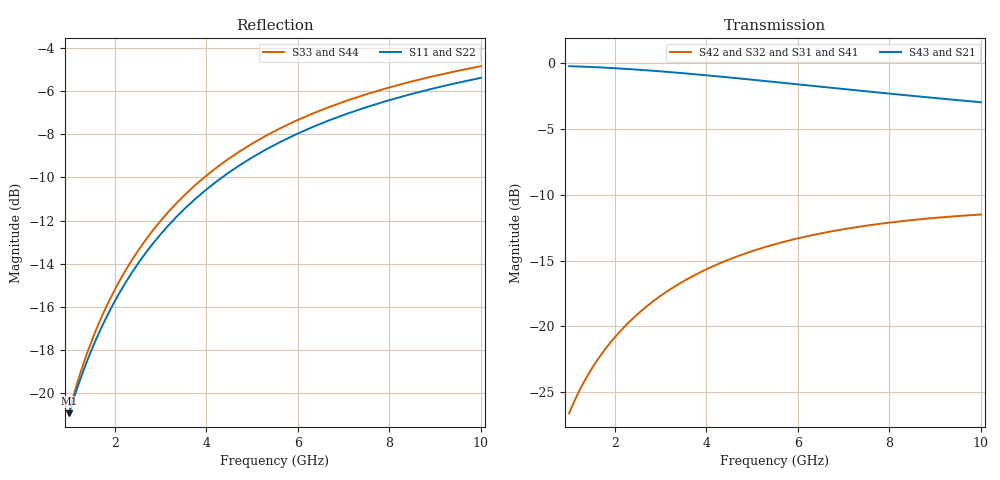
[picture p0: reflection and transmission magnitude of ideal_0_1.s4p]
! Synthetic ideal circuit; generated by generate_synthetic.py
# Hz S RI R 50
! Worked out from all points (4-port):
!   41 points, 1 GHz to 10 GHz, reference 50 ohm
!   strongest paths, dB at 1 GHz, 1.778 GHz, 3.162 GHz, 5.623 GHz, 10 GHz:
!     S43: -0.2, -0.3, -0.7, -1.5, -3.0
!     S21: -0.4, -0.5, -0.8, -1.5, -2.8
!     S42: -26.6, -21.8, -17.3, -13.6, -11.5
!     S32: -26.6, -21.8, -17.3, -13.6, -11.5
!     S31: -26.6, -21.8, -17.3, -13.6, -11.5
!     S41: -26.6, -21.8, -17.3, -13.6, -11.5
!   lowest |S11| = -20.9 dB at 1 GHz (marker M1), VSWR 1.20, Z = 54.3 + j8.37 ohm
!   |S11| at or under -10 dB: start of sweep to 4.343 GHz
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1e9  0.0475 0.0764  0.9525 -0.084  0.00821 0.046  -0.00821 -0.046
     0.9525 -0.084  0.0475 0.0764  -0.00821 -0.046  0.00821 0.046
     0.00821 0.046  -0.00821 -0.046  0.0301 0.0855  0.9699 -0.093
     -0.00821 -0.046  0.00821 0.046  0.9699 -0.093  0.0301 0.0855
1.496236e9  0.0582 0.1123  0.9417 -0.1236  0.0179 0.0668  -0.0179 -0.0668
            0.9417 -0.1236  0.0582 0.1123  -0.0179 -0.0668  0.0179 0.0668
            0.0179 0.0668  -0.0179 -0.0668  0.0427 0.1255  0.9573 -0.1368
            -0.0179 -0.0668  0.0179 0.0668  0.9573 -0.1368  0.0427 0.1255
2.113489e9  0.0766 0.1539  0.9233 -0.1698  0.0344 0.0894  -0.0344 -0.0894
            0.9233 -0.1698  0.0766 0.1539  -0.0344 -0.0894  0.0344 0.0894
            0.0344 0.0894  -0.0344 -0.0894  0.064 0.1716  0.9358 -0.1875
            -0.0344 -0.0894  0.0344 0.0894  0.9358 -0.1875  0.064 0.1716
2.985383e9  0.1098 0.2051  0.8899 -0.2276  0.0635 0.1136  -0.0635 -0.1136
            0.8899 -0.2276  0.1098 0.2051  -0.0635 -0.1136  0.0635 0.1136
            0.0635 0.1136  -0.0635 -0.1136  0.1026 0.2279  0.8972 -0.2504
            -0.0635 -0.1136  0.0635 0.1136  0.8972 -0.2504  0.1026 0.2279
3.981072e9  0.1542 0.252  0.8453 -0.282  0.1009 0.1296  -0.1009 -0.1296
            0.8453 -0.282  0.1542 0.252  -0.1009 -0.1296  0.1009 0.1296
            0.1009 0.1296  -0.1009 -0.1296  0.1539 0.2784  0.8457 -0.3084
            -0.1009 -0.1296  0.1009 0.1296  0.8457 -0.3084  0.1539 0.2784
6.309573e9  0.2635 0.3183  0.7354 -0.3658  0.1835 0.1252  -0.1835 -0.1252
            0.7354 -0.3658  0.2635 0.3183  -0.1835 -0.1252  0.1835 0.1252
            0.1835 0.1252  -0.1835 -0.1252  0.2786 0.3456  0.7203 -0.3931
            -0.1835 -0.1252  0.1835 0.1252  0.7203 -0.3931  0.2786 0.3456
1e10  0.4097 0.3481  0.5875 -0.4234  0.2598 0.0581  -0.2598 -0.0581
      0.5875 -0.4234  0.4097 0.3481  -0.2598 -0.0581  0.2598 0.0581
      0.2598 0.0581  -0.2598 -0.0581  0.44 0.3658  0.5572 -0.4411
      -0.2598 -0.0581  0.2598 0.0581  0.5572 -0.4411  0.44 0.3658
